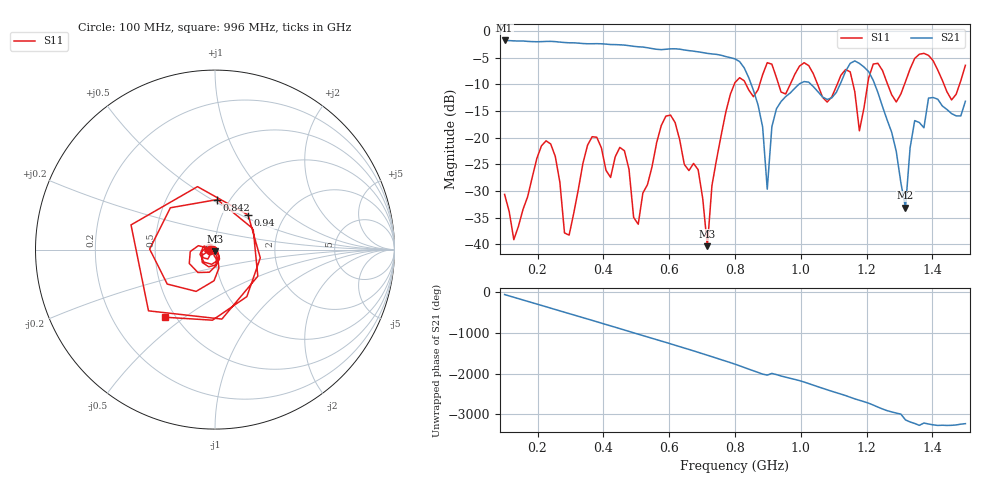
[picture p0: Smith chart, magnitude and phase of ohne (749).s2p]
! NanoVNA-App
! Date: 2025-09-25 14:26:38
! Start: 100MHz Stop: 1,5GHz Points: 101
! S-Parameter data: F S11 S21 S12 S22
# Hz S RI R 50
!  Frequency  S11_Real  S11_Imag  S21_Real  S21_Imag  S12_Real  S12_Imag  S22_Real  S22_Imag
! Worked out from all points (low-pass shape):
!   101 points, 100 MHz to 1.5 GHz, reference 50 ohm
!   highest |S21| = -1.79 dB at 100 MHz (marker M1); lowest = -33.1 dB at 1.318 GHz (marker M2)
!   |S21| within 3 dB of the highest: start of sweep to 771.1 MHz
!   lowest |S11| = -40.3 dB at 716 MHz (marker M3), VSWR 1.02, Z = 49.8 - j0.944 ohm
!   |S11| at or under -10 dB: start of sweep to 797.9 MHz; 833.2 MHz to 875.1 MHz (41.84 MHz wide, 4.9 % of centre); 1.051 GHz to 1.111 GHz (59.76 MHz wide, 5.53 % of centre) (the widest 3 of 7)
!   S12 and S22 are empty: the file has one direction only
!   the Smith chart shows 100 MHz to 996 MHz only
!   S11 on the Smith chart (normalised r, x): 100 MHz: 0.94, -0.01; 842 MHz: 0.88, +0.53; 940 MHz: 1.32, +0.55; 996 MHz: 0.44, -0.43
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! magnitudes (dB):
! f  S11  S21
! 100 MHz  -30.6  -1.8
! 128 MHz  -39.1  -1.9
! 226 MHz  -20.6  -2.0
! 296 MHz  -38.3  -2.2
! 338 MHz  -24.8  -2.4
! 464 MHz  -22.5  -2.7
! 506 MHz  -36.2  -3.0
! 576 MHz  -17.7  -3.5
! 688 MHz  -26.0  -3.9
! 716 MHz  -40.3  -4.2
! 800 MHz  -9.7  -5.2
! 842 MHz  -11.1  -8.8
! 898 MHz  -6.0  -29.7
! 940 MHz  -11.5  -13.2
! 996 MHz  -6.6  -9.9
! 1.038 GHz  -8.0  -10.4
! 1.178 GHz  -18.7  -6.1
! 1.22 GHz  -6.2  -9.3
! 1.276 GHz  -12.0  -19.0
! 1.318 GHz  -9.5  -33.1
! 1.346 GHz  -5.2  -16.8
! 1.5 GHz  -6.4  -13.2
